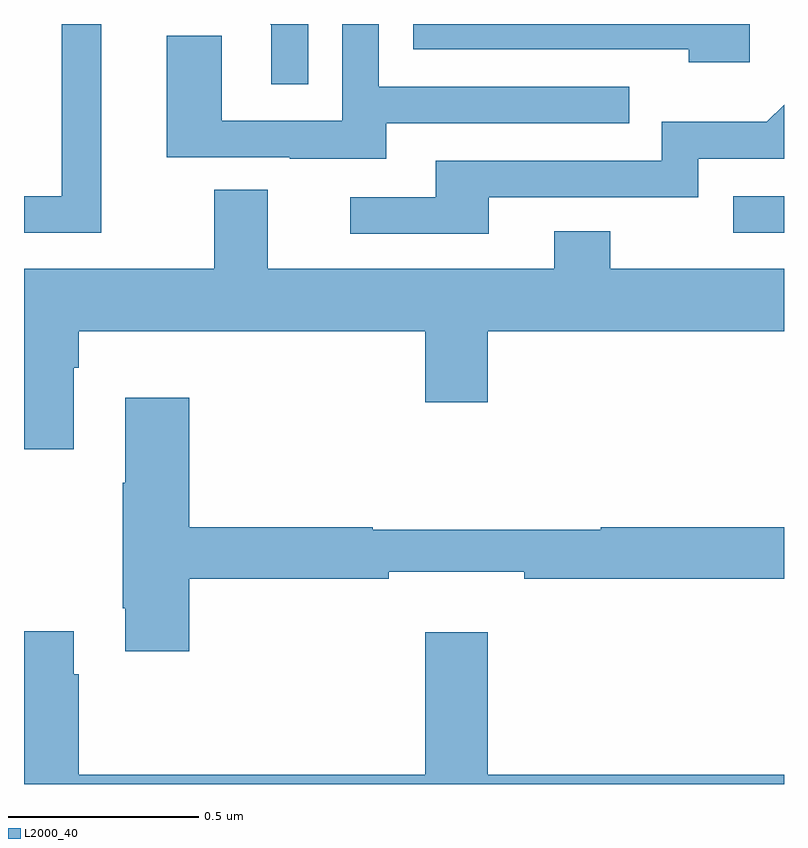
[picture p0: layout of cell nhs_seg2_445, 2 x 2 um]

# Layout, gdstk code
import gdstk
lib = gdstk.Library(unit=1e-6, precision=1e-09)
def R(c, l, rs):  # rectangles x0, y0, x1, y1
    for r in rs: c.add(gdstk.rectangle(r[:2], r[2:], *l))
def P(c, l, *ps):  # polygons
    for p in ps: c.add(gdstk.Polygon(p, *l))
L2000_40 = (2000, 40)

nhs_seg2_445 = lib.new_cell('nhs_seg2_445')
R(nhs_seg2_445, L2000_40, [(117.867,625.251,118,625.347)])
P(nhs_seg2_445, L2000_40, [(117.91,625.8),(117.024,625.8),(117.024,625.734),(117.749,625.734),(117.749,625.7),(117.91,625.7)],
  [(116.203,625.8),(116.099,625.8),(116.099,625.347),(116,625.347),(116,625.251),(116.203,625.251)],
  [(116.748,625.8),(116.648,625.8),(116.651,625.797),(116.651,625.641),(116.748,625.641)],
  [(116.953,625.539),(117.593,625.539),(117.593,625.635),(116.934,625.635),(116.934,625.8),(116.838,625.8),(116.838,625.545),(116.52,625.545),(116.52,625.769),(116.375,625.769),(116.375,625.449),(116.699,625.449),(116.699,625.445),(116.953,625.445)],
  [(117.223,625.344),(117.774,625.344),(117.774,625.446),(118,625.446),(118,625.588),(117.955,625.543),(117.678,625.543),(117.678,625.44),(117.083,625.44),(117.083,625.344),(116.859,625.344),(116.859,625.248),(117.223,625.248)],
  [(116.131,624.896),(116.144,624.896),(116.144,624.992),(117.056,624.992),(117.056,624.804),(117.22,624.804),(117.22,624.992),(118,624.992),(118,625.156),(117.543,625.156),(117.543,625.255),(117.395,625.255),(117.395,625.156),(116.641,625.156),(116.641,625.364),(116.501,625.364),(116.501,625.156),(116,625.156),(116,624.681),(116.131,624.681)],
  [(116.435,624.34),(116.96,624.34),(116.96,624.359),(117.316,624.359),(117.316,624.34),(118,624.34),(118,624.476),(117.518,624.476),(117.518,624.469),(116.918,624.469),(116.918,624.476),(116.435,624.476),(116.435,624.817),(116.267,624.817),(116.267,624.593),(116.26,624.593),(116.26,624.262),(116.267,624.262),(116.267,624.15),(116.435,624.15)],
  [(118,623.824),(117.22,623.824),(117.22,624.199),(117.056,624.199),(117.056,623.824),(116.144,623.824),(116.144,624.089),(116.131,624.089),(116.131,624.202),(116,624.202),(116,623.8),(118,623.8)])

lib.write_gds('nhs_seg2_445.gds')
